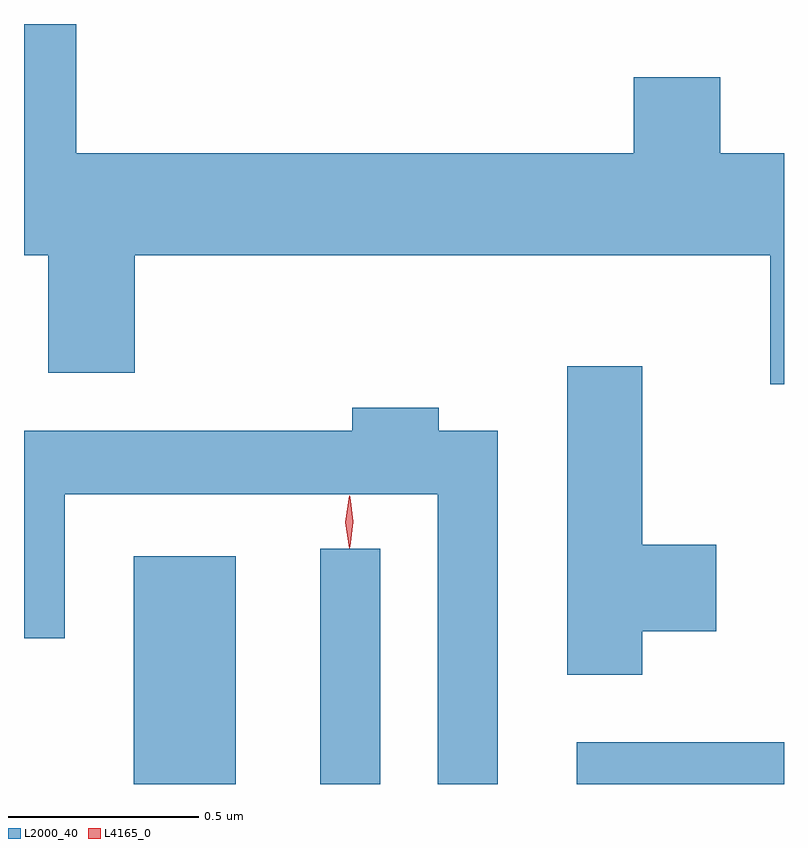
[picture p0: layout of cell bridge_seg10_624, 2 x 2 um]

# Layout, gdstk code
import gdstk
lib = gdstk.Library(unit=1e-6, precision=1e-09)
def R(c, l, rs):  # rectangles x0, y0, x1, y1
    for r in rs: c.add(gdstk.rectangle(r[:2], r[2:], *l))
def P(c, l, *ps):  # polygons
    for p in ps: c.add(gdstk.Polygon(p, *l))
L2000_40 = (2000, 40)
L4165_0 = (4165, 0)

bridge_seg10_624 = lib.new_cell('bridge_seg10_624')
R(bridge_seg10_624, L2000_40, [(842.786,2141.384,843.054,2141.984), (843.276,2141.384,843.434,2142.003), (843.951,2141.384,844.497,2141.494)])
P(bridge_seg10_624, L2000_40, [(844.497,2143.044),(844.329,2143.044),(844.329,2143.244),(844.101,2143.244),(844.101,2143.044),(842.634,2143.044),(842.634,2143.384),(842.497,2143.384),(842.497,2142.776),(842.561,2142.776),(842.561,2142.466),(842.789,2142.466),(842.789,2142.776),(844.461,2142.776),(844.461,2142.436),(844.497,2142.436)],
  [(844.124,2141.786),(844.319,2141.786),(844.319,2142.014),(844.124,2142.014),(844.124,2142.484),(843.926,2142.484),(843.926,2141.671),(844.124,2141.671)],
  [(843.744,2142.314),(843.589,2142.314),(843.589,2142.374),(843.361,2142.374),(843.361,2142.314),(842.497,2142.314),(842.497,2141.768),(842.604,2141.768),(842.604,2142.146),(843.586,2142.146),(843.586,2141.384),(843.744,2141.384)])
P(bridge_seg10_624, L4165_0, [(843.353,2142.004),(843.353,2142.004),(843.343,2142.073),(843.353,2142.142),(843.353,2142.143),(843.354,2142.142),(843.363,2142.073),(843.354,2142.004)],
  [(843.354,2142.007),(843.354,2142.008),(843.344,2142.074),(843.354,2142.14),(843.354,2142.14),(843.355,2142.14),(843.364,2142.074),(843.355,2142.008)])

lib.write_gds('bridge_seg10_624.gds')
